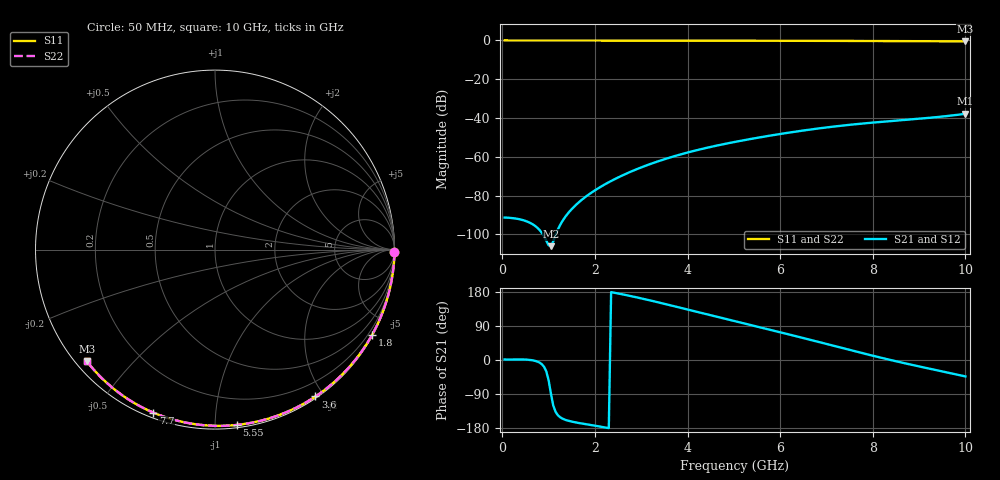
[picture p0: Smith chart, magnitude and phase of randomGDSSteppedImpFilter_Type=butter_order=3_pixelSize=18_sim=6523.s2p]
! freq	dB(S11)	phase(S11)	dB(S12)	phase(S12)
!  dB(S21)	phase(S21)	dB(S22)	phase(S22)
!S-par simulation data
#  GHz  S  DB  R 50
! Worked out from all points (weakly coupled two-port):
!   200 points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, 50 MHz to 10 GHz, reference 50 ohm
!   highest |S21| = -37.83 dB at 10 GHz (marker M1); lowest = -106.1 dB at 1.05 GHz (marker M2)
!   lowest |S11| = -0.5 dB at 10 GHz (marker M3), VSWR 36.99, Z = 1.54 - j18.7 ohm
!   |S11| at or under -10 dB: nowhere
!   |S22| runs from -0.5 to 0.0 dB; largest |S21 - S12| = 0
!   S11 on the Smith chart (normalised r, x): 50 MHz: open; 1.8 GHz: 0.03, -3.94; 3.6 GHz: 0.02, -1.89; 5.55 GHz: 0.02, -1.13; 7.7 GHz: 0.02, -0.69; 10 GHz: 0.03, -0.37
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0.05  -0.00 -0.8  -91.34 1.5  -91.34 1.5  -0.00 -0.8
0.55  -0.01 -8.8  -93.53 0.8  -93.53 0.8  -0.01 -8.8
1.05  -0.02 -16.8  -106.10 -88.5  -106.10 -88.5  -0.02 -16.8
1.75  -0.04 -27.7  -81.54 -168.3  -81.54 -168.3  -0.04 -27.7
1.8  -0.04 -28.5  -80.62 -169.3  -80.62 -169.3  -0.04 -28.5
1.85  -0.04 -29.3  -79.75 -170.3  -79.75 -170.3  -0.04 -29.3
2.15  -0.04 -33.9  -75.11 -176.5  -75.11 -176.5  -0.04 -33.9
2.35  -0.05 -37.0  -72.47 179.1  -72.47 179.1  -0.05 -37.0
2.55  -0.05 -40.0  -70.09 174.4  -70.09 174.4  -0.05 -40.0
2.95  -0.06 -46.0  -65.94 164.0  -65.94 164.0  -0.06 -46.0
3.4  -0.07 -52.7  -62.03 151.2  -62.03 151.2  -0.07 -52.7
3.6  -0.08 -55.6  -60.51 145.3  -60.51 145.3  -0.08 -55.6
3.9  -0.08 -60.0  -58.44 136.2  -58.44 136.2  -0.08 -60.0
4.25  -0.09 -65.0  -56.30 125.5  -56.30 125.5  -0.09 -65.0
5.05  -0.12 -76.2  -52.20 101.5  -52.20 101.5  -0.12 -76.2
5.55  -0.14 -83.0  -50.02 86.6  -50.02 86.6  -0.14 -83.0
6.1  -0.16 -90.3  -47.86 70.2  -47.86 70.2  -0.16 -90.3
6.7  -0.19 -98.1  -45.79 51.8  -45.79 51.8  -0.19 -98.1
7.7  -0.26 -110.8  -43.03 20.4  -43.03 20.4  -0.26 -110.8
8.35  -0.31 -118.8  -41.66 1.0  -41.66 1.0  -0.31 -118.8
9.35  -0.40 -131.0  -39.61 -26.2  -39.61 -26.2  -0.40 -131.0
10  -0.47 -138.9  -37.83 -43.3  -37.83 -43.3  -0.47 -138.9
